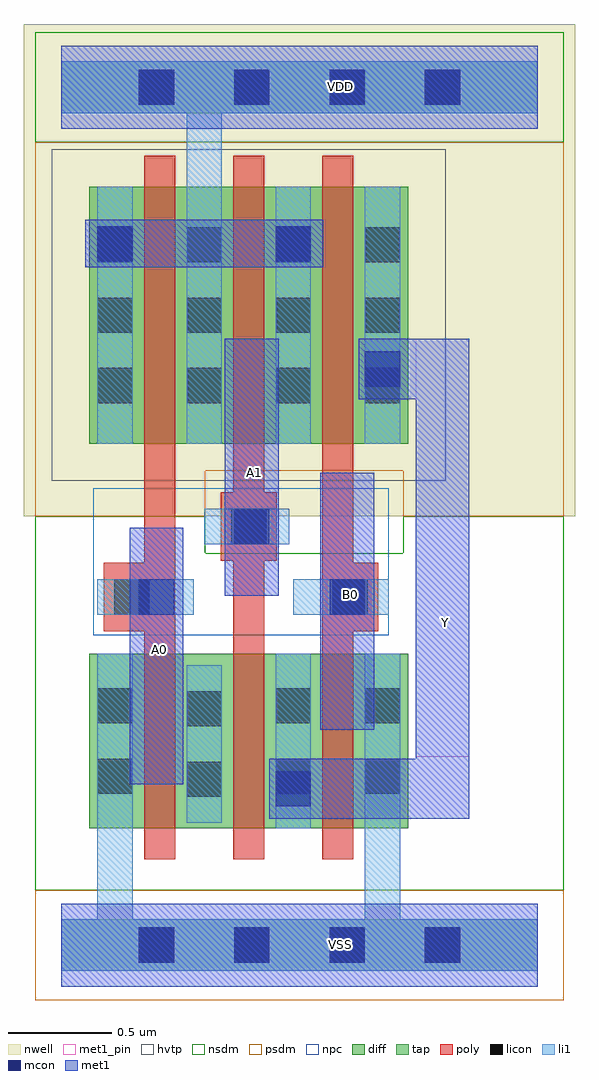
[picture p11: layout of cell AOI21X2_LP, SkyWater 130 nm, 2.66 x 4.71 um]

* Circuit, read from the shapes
.subckt AOI21X2_LP A0 A1 B0 VDD VSS Y
XM1 n1 A0 VSS VSS sky130_fd_pr__nfet_01v8 w=0.84 l=0.15
XM2 Y A1 n1 VSS sky130_fd_pr__nfet_01v8 w=0.84 l=0.15
XM3 VSS B0 Y VSS sky130_fd_pr__nfet_01v8 w=0.84 l=0.15
XM4 VDD A0 n2 VDD sky130_fd_pr__pfet_01v8_hvt w=1.24 l=0.15
XM5 n2 A1 VDD VDD sky130_fd_pr__pfet_01v8_hvt w=1.24 l=0.15
XM6 Y B0 n2 VDD sky130_fd_pr__pfet_01v8_hvt w=1.24 l=0.15
.ends

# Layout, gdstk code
import gdstk
lib = gdstk.Library(unit=1e-6, precision=1e-09)
def R(c, l, rs):  # rectangles x0, y0, x1, y1
    for r in rs: c.add(gdstk.rectangle(r[:2], r[2:], *l))
def A(c, l, x, y, w, h, nx, ny, dx, dy):  # array of equal rectangles
    R(c, l, [(x+i*dx, y+j*dy, x+i*dx+w, y+j*dy+h) for i in range(nx) for j in range(ny)])
def P(c, l, *ps):  # polygons
    for p in ps: c.add(gdstk.Polygon(p, *l))
nwell = (64, 20)
diff = (65, 20)
tap = (65, 44)
poly = (66, 20)
licon = (66, 44)
li1 = (67, 20)
mcon = (67, 44)
met1_pin = (68, 16)
met1 = (68, 20)
hvtp = (78, 44)
nsdm = (93, 44)
psdm = (94, 20)
npc = (95, 20)

l1m1_c_cdns_750721840971 = lib.new_cell('L1M1_C_CDNS_750721840971')
R(l1m1_c_cdns_750721840971, li1, [(-0.085,-0.165,0.085,0.165)])
R(l1m1_c_cdns_750721840971, mcon, [(-0.085,-0.085,0.085,0.085)])
R(l1m1_c_cdns_750721840971, met1, [(-0.115,-0.145,0.115,0.145)])

c_l1m1_c_cdns_750721840971 = lib.new_cell('L1M1_C_CDNS_7507218409710')
R(c_l1m1_c_cdns_750721840971, li1, [(-0.085,-0.165,0.085,0.165)])
R(c_l1m1_c_cdns_750721840971, mcon, [(-0.085,-0.085,0.085,0.085)])
R(c_l1m1_c_cdns_750721840971, met1, [(-0.145,-0.115,0.145,0.115)])

pyl1con_c_cdns_750721840 = lib.new_cell('PYL1CON_C_CDNS_750721840972')
R(pyl1con_c_cdns_750721840, poly, [(-0.135,-0.165,0.135,0.165)])
R(pyl1con_c_cdns_750721840, licon, [(-0.085,-0.085,0.085,0.085)])
R(pyl1con_c_cdns_750721840, npc, [(-0.185,-0.185,0.185,0.185)])

l1m1_c_cdns_750721840973 = lib.new_cell('L1M1_C_CDNS_750721840973')
R(l1m1_c_cdns_750721840973, li1, [(-0.165,-0.085,0.165,0.085)])
R(l1m1_c_cdns_750721840973, mcon, [(-0.085,-0.085,0.085,0.085)])
R(l1m1_c_cdns_750721840973, met1, [(-0.115,-0.145,0.115,0.145)])

aoi21x2_lp = lib.new_cell('AOI21X2_LP')
R(aoi21x2_lp, nwell, [(-0.18,2.07,2.48,4.305), (-0.045,2.24,0.785,3.84), (0.425,2.24,1.385,3.84), (1.025,2.24,1.855,3.84), (-0.18,3.875,2.48,4.445)])
A(aoi21x2_lp, diff, 0.4, 0.565, 0.15, 0.84, 3, 1, 0.43, 0)
A(aoi21x2_lp, diff, 0.4, 2.42, 0.15, 1.24, 3, 1, 0.43, 0)
R(aoi21x2_lp, diff, [(0.135,0.565,0.4,1.405), (0.55,0.565,0.605,1.405), (0.605,0.565,0.83,1.405), (0.98,0.565,1.205,1.405), (1.205,0.565,1.26,1.405), (1.41,0.565,1.675,1.405), (0.135,2.42,0.4,3.66), (0.55,2.42,0.605,3.66), (0.605,2.42,0.83,3.66), (0.98,2.42,1.205,3.66), (1.205,2.42,1.26,3.66), (1.41,2.42,1.675,3.66)])
A(aoi21x2_lp, poly, 0.4, 0.415, 0.15, 0.055, 3, 2, 0.43, 1.085)
A(aoi21x2_lp, poly, 0.4, 0.47, 0.15, 0.095, 3, 2, 0.43, 0.935)
A(aoi21x2_lp, poly, 0.4, 0.565, 0.15, 0.84, 3, 1, 0.43, 0)
A(aoi21x2_lp, poly, 0.4, 2.27, 0.15, 0.055, 3, 2, 0.43, 1.485)
A(aoi21x2_lp, poly, 0.4, 2.325, 0.15, 0.095, 3, 2, 0.43, 1.335)
A(aoi21x2_lp, poly, 0.4, 2.42, 0.15, 1.24, 3, 1, 0.43, 0)
A(aoi21x2_lp, licon, 0.375, -0.085, 0.17, 0.17, 4, 2, 0.46, 4.14)
A(aoi21x2_lp, licon, 0.175, 2.615, 0.17, 0.17, 4, 3, 0.43, 0.34)
R(aoi21x2_lp, licon, [(0.605,0.715,0.775,0.885), (0.175,0.73,0.345,0.9), (1.035,0.73,1.205,0.9), (1.465,0.73,1.635,0.9), (0.605,1.055,0.775,1.225), (0.175,1.07,0.345,1.24), (1.035,1.07,1.205,1.24), (1.465,1.07,1.635,1.24)])
A(aoi21x2_lp, li1, 0.175, 2.42, 0.17, 1.24, 4, 1, 0.43, 0)
R(aoi21x2_lp, li1, [(0.175,0.565,0.345,1.405), (1.035,0.565,1.205,1.405), (1.465,0.565,1.635,1.405)])
A(aoi21x2_lp, mcon, 0.375, -0.085, 0.17, 0.17, 4, 2, 0.46, 4.14)
R(aoi21x2_lp, met1_pin, [(0.33,0.775,0.59,2.015), (1.71,0.91,1.97,2.925), (1.25,1.04,1.51,2.28), (0.79,1.685,1.05,2.925)])
R(aoi21x2_lp, hvtp, [(-0.045,2.24,0.785,3.84), (0.425,2.24,1.385,3.84), (1.025,2.24,1.855,3.84)])
A(aoi21x2_lp, nsdm, -0.005, 0.435, 0.62, 1.1, 3, 1, 0.6, 0)
R(aoi21x2_lp, nsdm, [(-0.125,3.875,2.425,4.405), (-0.125,3.93,2.425,4.35)])
P(aoi21x2_lp, nsdm, [(2.425,2.07),(1.65,2.07),(1.65,1.89),(0.695,1.89),(0.695,2.07),(-0.125,2.07),(-0.125,0.265),(2.425,0.265)])
A(aoi21x2_lp, psdm, -0.005, 2.29, 0.62, 1.5, 3, 1, 0.6, 0)
R(aoi21x2_lp, psdm, [(-0.125,-0.265,2.425,0.265), (-0.125,-0.21,2.425,0.21)])
P(aoi21x2_lp, psdm, [(2.425,3.875),(-0.125,3.875),(-0.125,2.07),(0.695,2.07),(0.695,2.29),(1.65,2.29),(1.65,2.07),(2.425,2.07)])
R(aoi21x2_lp, npc, [(0.155,1.495,1.58,2.205)])
aoi21x2_lp.add(gdstk.FlexPath([(1.335,1.5),(1.335,2.27)], 0.15, ends="flush", simple_path=True, layer=66, datatype=20))  # poly
aoi21x2_lp.add(gdstk.FlexPath([(0.905,1.5),(0.905,2.27)], 0.15, ends="flush", simple_path=True, layer=66, datatype=20))  # poly
aoi21x2_lp.add(gdstk.FlexPath([(0.475,1.5),(0.475,2.27)], 0.15, ends="flush", simple_path=True, layer=66, datatype=20))  # poly
aoi21x2_lp.add(gdstk.FlexPath([(1.55,0),(2.3,0)], 0.25, ends=(0.085, 0), simple_path=True, layer=67, datatype=20))  # li1
aoi21x2_lp.add(gdstk.FlexPath([(0.26,0),(1.55,0)], 0.25, ends=(0.085, 0.085), simple_path=True, layer=67, datatype=20))  # li1
aoi21x2_lp.add(gdstk.FlexPath([(0.69,4.14),(2.3,4.14)], 0.25, ends=(0.085, 0), simple_path=True, layer=67, datatype=20))  # li1
aoi21x2_lp.add(gdstk.FlexPath([(0,4.14),(0.69,4.14)], 0.25, ends=(0, 0.085), simple_path=True, layer=67, datatype=20))  # li1
aoi21x2_lp.add(gdstk.FlexPath([(1.55,0.59),(1.55,0)], 0.17, ends=(0, 0.125), simple_path=True, layer=67, datatype=20))  # li1
aoi21x2_lp.add(gdstk.FlexPath([(0.69,3.55),(0.69,4.14)], 0.17, ends=(0, 0.125), simple_path=True, layer=67, datatype=20))  # li1
aoi21x2_lp.add(gdstk.FlexPath([(0.26,0.59),(0.26,0)], 0.17, ends=(0, 0.125), simple_path=True, layer=67, datatype=20))  # li1
aoi21x2_lp.add(gdstk.FlexPath([(0,0),(0.26,0)], 0.25, ends=(0, 0.085), simple_path=True, layer=67, datatype=20))  # li1
aoi21x2_lp.add(gdstk.FlexPath([(0.175,1.68),(0.525,1.68)], 0.17, ends="flush", simple_path=True, layer=67, datatype=20))  # li1
aoi21x2_lp.add(gdstk.FlexPath([(1.12,1.68),(1.58,1.68)], 0.17, ends="flush", simple_path=True, layer=67, datatype=20))  # li1
aoi21x2_lp.add(gdstk.FlexPath([(0.69,2.02),(1.09,2.02)], 0.17, ends="flush", simple_path=True, layer=67, datatype=20))  # li1
aoi21x2_lp.add(gdstk.FlexPath([(1.215,1.68),(1.56,1.68)], 0.17, ends="flush", simple_path=True, layer=67, datatype=20))  # li1
aoi21x2_lp.add(gdstk.FlexPath([(0.295,1.68),(0.64,1.68)], 0.17, ends="flush", simple_path=True, layer=67, datatype=20))  # li1
aoi21x2_lp.add(gdstk.FlexPath([(0.755,2.02),(1.1,2.02)], 0.17, ends="flush", simple_path=True, layer=67, datatype=20))  # li1
aoi21x2_lp.add(gdstk.FlexPath([(0.69,0.59),(0.69,1.35)], 0.17, ends="flush", simple_path=True, layer=67, datatype=20))  # li1
aoi21x2_lp.add(gdstk.FlexPath([(0,4.14),(2.3,4.14)], 0.4, ends="flush", simple_path=True, layer=68, datatype=16))  # met1_pin
aoi21x2_lp.add(gdstk.FlexPath([(0,0),(2.3,0)], 0.4, ends="flush", simple_path=True, layer=68, datatype=16))  # met1_pin
aoi21x2_lp.add(gdstk.FlexPath([(0,4.14),(2.3,4.14)], 0.4, ends="flush", simple_path=True, layer=68, datatype=20))  # met1
aoi21x2_lp.add(gdstk.FlexPath([(1.84,2.78),(1.55,2.78)], 0.29, ends="flush", simple_path=True, layer=68, datatype=20))  # met1
aoi21x2_lp.add(gdstk.FlexPath([(0.46,2.015),(0.46,0.775)], 0.26, ends="flush", simple_path=True, layer=68, datatype=20))  # met1
aoi21x2_lp.add(gdstk.FlexPath([(1.84,0.755),(1.12,0.755)], 0.29, ends=(0.13, 0.115), simple_path=True, layer=68, datatype=20))  # met1
aoi21x2_lp.add(gdstk.FlexPath([(1.84,2.925),(1.84,0.755)], 0.26, ends=(0, 0.145), simple_path=True, layer=68, datatype=20))  # met1
aoi21x2_lp.add(gdstk.FlexPath([(0,0),(2.3,0)], 0.4, ends="flush", simple_path=True, layer=68, datatype=20))  # met1
aoi21x2_lp.add(gdstk.FlexPath([(0.92,1.685),(0.92,2.925)], 0.26, ends="flush", simple_path=True, layer=68, datatype=20))  # met1
aoi21x2_lp.add(gdstk.FlexPath([(1.38,2.28),(1.38,1.04)], 0.26, ends="flush", simple_path=True, layer=68, datatype=20))  # met1
aoi21x2_lp.add(gdstk.FlexPath([(0.405,3.385),(0.975,3.385)], 0.23, ends="flush", simple_path=True, layer=68, datatype=20))  # met1
aoi21x2_lp.add(gdstk.FlexPath([(0,4.14),(2.3,4.14)], 0.25, ends="flush", simple_path=True, layer=65, datatype=44))  # tap
aoi21x2_lp.add(gdstk.FlexPath([(0,0),(2.3,0)], 0.25, ends="flush", simple_path=True, layer=65, datatype=44))  # tap
aoi21x2_lp.add(gdstk.Reference(l1m1_c_cdns_750721840971, (1.55,2.78)))
aoi21x2_lp.add(gdstk.Reference(l1m1_c_cdns_750721840971, (1.12,0.755)))
aoi21x2_lp.add(gdstk.Reference(c_l1m1_c_cdns_750721840971, (1.12,3.385)))
aoi21x2_lp.add(gdstk.Reference(c_l1m1_c_cdns_750721840971, (0.26,3.385)))
aoi21x2_lp.add(gdstk.Reference(pyl1con_c_cdns_750721840, (0.905,2.02)))
aoi21x2_lp.add(gdstk.Reference(pyl1con_c_cdns_750721840, (0.34,1.68)))
aoi21x2_lp.add(gdstk.Reference(pyl1con_c_cdns_750721840, (1.395,1.68)))
aoi21x2_lp.add(gdstk.Reference(l1m1_c_cdns_750721840973, (0.92,2.02), x_reflection=True))
aoi21x2_lp.add(gdstk.Reference(l1m1_c_cdns_750721840973, (0.46,1.68)))
aoi21x2_lp.add(gdstk.Reference(l1m1_c_cdns_750721840973, (1.38,1.68)))
aoi21x2_lp.add(gdstk.Label('A0', (0.475,1.425), layer=68, texttype=5))
aoi21x2_lp.add(gdstk.Label('A1', (0.935,2.28), layer=68, texttype=5))
aoi21x2_lp.add(gdstk.Label('Y', (1.855,1.555), layer=68, texttype=5))
aoi21x2_lp.add(gdstk.Label('B0', (1.395,1.69), layer=68, texttype=5))
aoi21x2_lp.add(gdstk.Label('VSS', (1.35,0.005), layer=68, texttype=5))
aoi21x2_lp.add(gdstk.Label('VDD', (1.35,4.145), layer=68, texttype=5))

lib.write_gds('AOI21X2_LP.gds')
